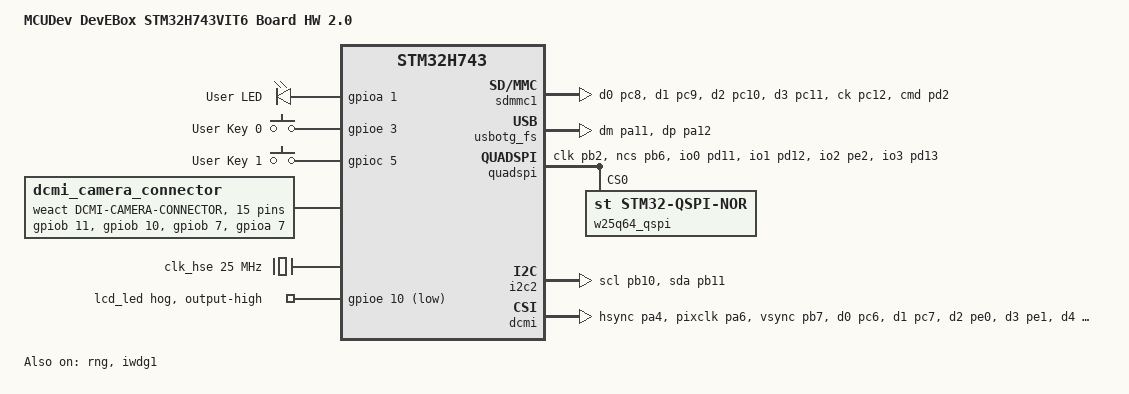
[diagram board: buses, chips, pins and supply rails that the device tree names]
/dts-v1/;
#include <st/h7/stm32h743Xi.dtsi>
#include <st/h7/stm32h743vitx-pinctrl.dtsi>
#include <zephyr/dt-bindings/input/input-event-codes.h>

/ {
	model = "MCUDev DevEBox STM32H743VIT6 Board HW 2.0";
	compatible = "mcudev,devebox-stm32h743-hw-20";

	chosen {
		zephyr,sram = &sram0;
		zephyr,flash = &flash0;
	};

	leds {
		compatible = "gpio-leds";
		user_led: led {
			gpios = <&gpioa 1 GPIO_ACTIVE_HIGH>;
			label = "User LED";
		};
	};

	gpio_keys {
		compatible = "gpio-keys";

		user_button_0: button0 {
			label = "User Key 0";
			gpios = <&gpioe 3 (GPIO_ACTIVE_HIGH | GPIO_PULL_DOWN)>;
			zephyr,code = <INPUT_KEY_0>;
		};

		user_button_1: button1 {
			label = "User Key 1";
			gpios = <&gpioc 5 (GPIO_ACTIVE_HIGH | GPIO_PULL_DOWN)>;
			zephyr,code = <INPUT_KEY_1>;
		};
	};

	aliases {
		led0 = &user_led;
		sw0 = &user_button_0;
		sw1 = &user_button_1;
		watchdog0 = &iwdg;
		sdhc0 = &sdmmc1;
	};

	dcmi_camera_connector: connector_dcmi_camera {
		compatible = "weact,dcmi-camera-connector";
		#gpio-cells = <2>;
		gpio-map-mask = <0xffffffff 0xffffffc0>;
		gpio-map-pass-thru = <0 0x3f>;

		gpio-map = <3  0 &gpiob 11  0>,  /* DVP_SDA (I2C2_SDA) */
				   <5  0 &gpiob 10  0>,  /* DVP_SCL (I2C2_SCL) */
				   <7  0 &gpiob 7  0>,  /* DVP_VSYNC */
				   <8  0 &gpioa 7  0>,  /* DVP_PWDN */
				   <9  0 &gpioa 4  0>,  /* DVP_HSYNC */
				   <12 0 &gpioe 6  0>,  /* DVP_D7 */
				   <13 0 &gpioa 8  0>,  /* DVP_XCLK (RCC_MCO1) */
				   <14 0 &gpioe 5  0>,  /* DVP_D6 */
				   <16 0 &gpiod 3  0>,  /* DVP_D5 */
				   <17 0 &gpioa 6  0>,  /* DVP_PCLK */
				   <18 0 &gpioe 4  0>,  /* DVP_D4 */
				   <19 0 &gpioc 6  0>,  /* DVP_D0 */
				   <20 0 &gpioe 1  0>,  /* DVP_D3 */
				   <21 0 &gpioc 7  0>,  /* DVP_D1 */
				   <22 0 &gpioe 0  0>;  /* DVP_D2 */
	};
};

&clk_lsi {
	status = "okay";
};

&clk_hsi48 {
	status = "okay";
};

&clk_hse {
	clock-frequency = <DT_FREQ_M(25)>;
	status = "okay";
};

&pll {
	div-m = <5>;
	mul-n = <96>;
	div-p = <2>;
	div-q = <10>;
	div-r = <2>;
	clocks = <&clk_hse>;
	status = "okay";
};

&rcc {
	clocks = <&pll>;
	clock-frequency = <DT_FREQ_M(240)>;
	d1cpre = <1>;
	hpre = <2>;
	d1ppre = <1>;
	d2ppre1 = <1>;
	d2ppre2 = <1>;
	d3ppre = <1>;
};

&sdmmc1 {
	pinctrl-0 = <&sdmmc1_d0_pc8
				 &sdmmc1_d1_pc9
				 &sdmmc1_d2_pc10
				 &sdmmc1_d3_pc11
				 &sdmmc1_ck_pc12
				 &sdmmc1_cmd_pd2>;
	pinctrl-names = "default";
	disk-name = "SD";
	status = "okay";
};

zephyr_udc0: &usbotg_fs {
	pinctrl-0 = <&usb_otg_fs_dm_pa11 &usb_otg_fs_dp_pa12>;
	pinctrl-names = "default";
	status = "okay";
};

#include <../boards/common/usb/cdc_acm_serial.dtsi>

&quadspi {
	pinctrl-names = "default";
	pinctrl-0 = <&quadspi_clk_pb2
				 &quadspi_bk1_ncs_pb6
				 &quadspi_bk1_io0_pd11
				 &quadspi_bk1_io1_pd12
				 &quadspi_bk1_io2_pe2
				 &quadspi_bk1_io3_pd13>;
	flash-id = <1>;
	status = "okay";

	w25q64_qspi: qspi-nor-flash@0 {
		compatible = "st,stm32-qspi-nor";
		reg = <0>;
		size = <DT_SIZE_M(64)>; /* 64 Mbits */
		qspi-max-frequency = <40000000>;
		cs-high-time = <2>; /* >= 50 ns */
		status = "okay";
		spi-bus-width = <4>;
		writeoc = "PP_1_1_4";
	};
};

&gpioe {
	status = "okay";

	lcd_led {
		gpio-hog;
		gpios = <10 GPIO_ACTIVE_LOW>;
		output-high;
	};
};

&rng {
	status = "okay";
};

&backup_sram {
	status = "okay";
};

&iwdg1 {
	status = "okay";
};

zephyr_camera_i2c: &i2c2 {
	pinctrl-0 = <&i2c2_scl_pb10 &i2c2_sda_pb11>;
	pinctrl-names = "default";
};

zephyr_camera_dvp: &dcmi {
	pinctrl-0 = <&dcmi_hsync_pa4
				 &dcmi_pixclk_pa6
				 &dcmi_vsync_pb7
				 &dcmi_d0_pc6
				 &dcmi_d1_pc7
				 &dcmi_d2_pe0
				 &dcmi_d3_pe1
				 &dcmi_d4_pe4
				 &dcmi_d5_pd3
				 &dcmi_d6_pe5
				 &dcmi_d7_pe6>;
	pinctrl-names = "default";
};

&pwr {
	power-supply = "ldo";
};
